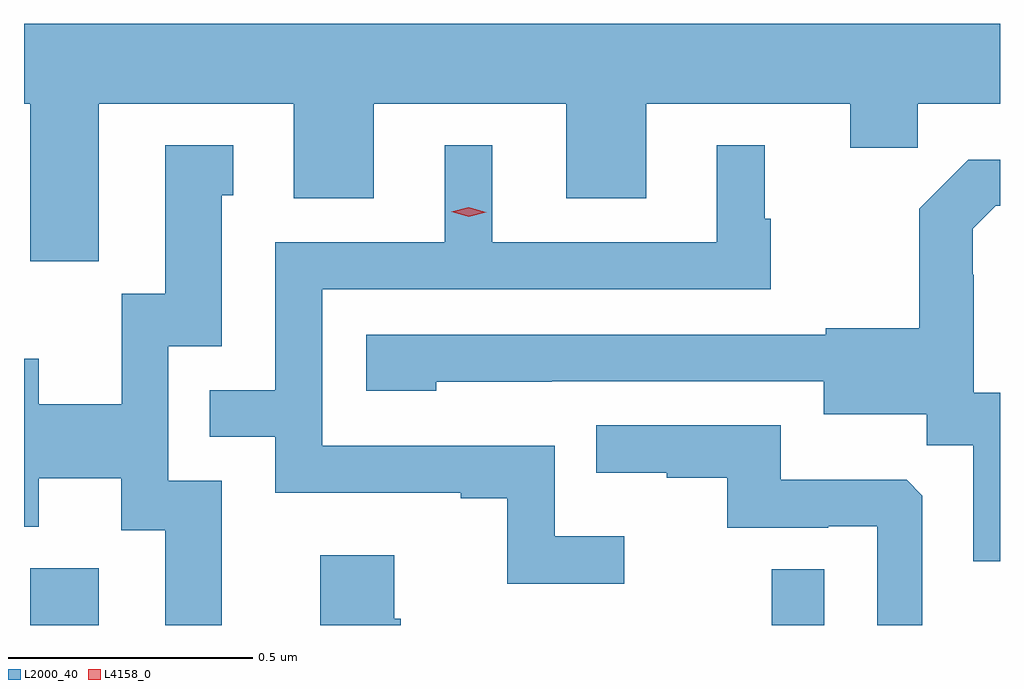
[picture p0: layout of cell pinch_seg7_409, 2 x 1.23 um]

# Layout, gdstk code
import gdstk
lib = gdstk.Library(unit=1e-6, precision=1e-09)
def R(c, l, rs):  # rectangles x0, y0, x1, y1
    for r in rs: c.add(gdstk.rectangle(r[:2], r[2:], *l))
def P(c, l, *ps):  # polygons
    for p in ps: c.add(gdstk.Polygon(p, *l))
L2000_40 = (2000, 40)
L4158_0 = (4158, 0)

pinch_seg7_409 = lib.new_cell('pinch_seg7_409')
R(pinch_seg7_409, L2000_40, [(502.259,1008.871,502.399,1008.988), (503.778,1008.871,503.886,1008.986)])
P(pinch_seg7_409, L2000_40, [(502.399,1009.94),(502.799,1009.94),(502.799,1009.746),(502.963,1009.746),(502.963,1009.94),(503.357,1009.94),(503.357,1009.746),(503.521,1009.746),(503.521,1009.94),(503.939,1009.94),(503.939,1009.85),(504.077,1009.85),(504.077,1009.94),(504.246,1009.94),(504.246,1010.104),(502.246,1010.104),(502.246,1009.94),(502.259,1009.94),(502.259,1009.617),(502.399,1009.617)],
  [(502.651,1009.167),(502.542,1009.167),(502.542,1009.443),(502.651,1009.443),(502.651,1009.752),(502.675,1009.752),(502.675,1009.855),(502.535,1009.855),(502.535,1009.551),(502.446,1009.551),(502.446,1009.324),(502.276,1009.324),(502.276,1009.417),(502.246,1009.417),(502.246,1009.073),(502.276,1009.073),(502.276,1009.172),(502.445,1009.172),(502.445,1009.066),(502.535,1009.066),(502.535,1008.871),(502.651,1008.871)],
  [(503.476,1009.054),(503.334,1009.054),(503.334,1009.239),(502.857,1009.239),(502.857,1009.56),(503.776,1009.56),(503.776,1009.704),(503.764,1009.704),(503.764,1009.855),(503.666,1009.855),(503.666,1009.656),(503.206,1009.656),(503.206,1009.855),(503.108,1009.855),(503.108,1009.656),(502.761,1009.656),(502.761,1009.353),(502.627,1009.353),(502.627,1009.257),(502.761,1009.257),(502.761,1009.143),(503.141,1009.143),(503.141,1009.131),(503.236,1009.131),(503.236,1008.956),(503.476,1008.956)],
  [(504.246,1009.348),(504.192,1009.348),(504.192,1009.589),(504.19,1009.589),(504.19,1009.684),(504.237,1009.731),(504.246,1009.731),(504.246,1009.825),(504.181,1009.825),(504.081,1009.725),(504.081,1009.48),(503.889,1009.48),(503.889,1009.467),(502.947,1009.467),(502.947,1009.352),(503.091,1009.352),(503.091,1009.37),(503.327,1009.37),(503.327,1009.371),(503.885,1009.371),(503.885,1009.304),(504.096,1009.304),(504.096,1009.24),(504.191,1009.24),(504.191,1009.002),(504.246,1009.002)],
  [(504.087,1009.137),(504.055,1009.169),(503.797,1009.169),(503.797,1009.281),(503.419,1009.281),(503.419,1009.184),(503.563,1009.184),(503.563,1009.173),(503.687,1009.173),(503.687,1009.071),(503.894,1009.071),(503.894,1009.074),(503.994,1009.074),(503.994,1008.871),(504.087,1008.871)],
  [(503.018,1008.885),(503.005,1008.885),(503.005,1009.015),(502.853,1009.015),(502.853,1008.871),(503.018,1008.871)])
P(pinch_seg7_409, L4158_0, [(503.157,1009.708),(503.121,1009.719),(503.121,1009.719),(503.121,1009.719),(503.157,1009.728),(503.193,1009.718),(503.193,1009.718),(503.193,1009.718)])

lib.write_gds('pinch_seg7_409.gds')
